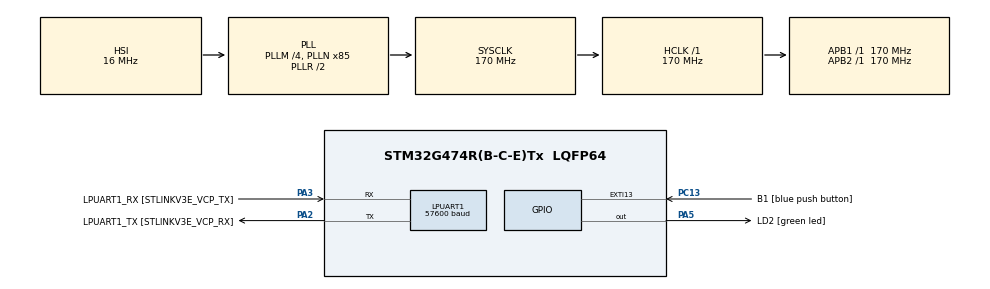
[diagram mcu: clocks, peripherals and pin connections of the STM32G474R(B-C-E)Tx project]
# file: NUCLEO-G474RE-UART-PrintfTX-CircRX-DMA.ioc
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Dma.LPUART1_RX.0.Direction=DMA_PERIPH_TO_MEMORY
Dma.LPUART1_RX.0.EventEnable=DISABLE
Dma.LPUART1_RX.0.Instance=DMA1_Channel2
Dma.LPUART1_RX.0.MemDataAlignment=DMA_MDATAALIGN_BYTE
Dma.LPUART1_RX.0.MemInc=DMA_MINC_ENABLE
Dma.LPUART1_RX.0.Mode=DMA_CIRCULAR
Dma.LPUART1_RX.0.PeriphDataAlignment=DMA_PDATAALIGN_BYTE
Dma.LPUART1_RX.0.PeriphInc=DMA_PINC_DISABLE
Dma.LPUART1_RX.0.Polarity=HAL_DMAMUX_REQ_GEN_RISING
Dma.LPUART1_RX.0.Priority=DMA_PRIORITY_LOW
Dma.LPUART1_RX.0.RequestNumber=1
Dma.LPUART1_RX.0.SignalID=NONE
Dma.LPUART1_RX.0.SyncEnable=DISABLE
Dma.LPUART1_RX.0.SyncPolarity=HAL_DMAMUX_SYNC_NO_EVENT
Dma.LPUART1_RX.0.SyncRequestNumber=1
Dma.LPUART1_RX.0.SyncSignalID=NONE
Dma.Request0=LPUART1_RX
LPUART1.BaudRate=57600
LPUART1.WordLength=UART_WORDLENGTH_8B
Mcu.Family=STM32G4
Mcu.Name=STM32G474R(B-C-E)Tx
Mcu.Package=LQFP64
NVIC.DMA1_Channel2_IRQn=true\:0\:0\:false\:false\:true\:false\:true\:true
NVIC.EXTI15_10_IRQn=true\:0\:0\:false\:false\:true\:true\:true\:true
NVIC.LPUART1_IRQn=true\:0\:0\:false\:false\:true\:true\:true\:true
NVIC.PriorityGroup=NVIC_PRIORITYGROUP_4
PA13.GPIO_Label=T_SWDIO
PA13.Mode=Trace_Asynchronous_SW
PA13.Signal=SYS_JTMS-SWDIO
PA14.GPIO_Label=T_SWCLK
PA14.Mode=Trace_Asynchronous_SW
PA14.Signal=SYS_JTCK-SWCLK
PA2.GPIO_Label=LPUART1_TX [STLINKV3E_VCP_RX]
PA2.Mode=Asynchronous
PA2.Signal=LPUART1_TX
PA3.GPIO_Label=LPUART1_RX [STLINKV3E_VCP_TX]
PA3.Mode=Asynchronous
PA3.Signal=LPUART1_RX
PA5.GPIO_Label=LD2 [green led]
PA5.Signal=GPIO_Output
PB3.GPIO_Label=T_SWO
PB3.Mode=Trace_Asynchronous_SW
PB3.Signal=SYS_JTDO-SWO
PC13.GPIO_Label=B1 [blue push button]
PC13.Signal=GPXTI13
PC14-OSC32_IN.Mode=LSE-External-Oscillator
PC14-OSC32_IN.Signal=RCC_OSC32_IN
PC15-OSC32_OUT.Mode=LSE-External-Oscillator
PC15-OSC32_OUT.Signal=RCC_OSC32_OUT
PF0-OSC_IN.Mode=HSE-External-Oscillator
PF0-OSC_IN.Signal=RCC_OSC_IN
PF1-OSC_OUT.Mode=HSE-External-Oscillator
PF1-OSC_OUT.Signal=RCC_OSC_OUT
ProjectManager.HeapSize=0x200
ProjectManager.StackSize=0x400
ProjectManager.TargetToolchain=STM32CubeIDE
RCC.ADC12Freq_Value=170000000
RCC.ADC345Freq_Value=170000000
RCC.AHBFreq_Value=170000000
RCC.APB1Freq_Value=170000000
RCC.APB1TimFreq_Value=170000000
RCC.APB2Freq_Value=170000000
RCC.APB2TimFreq_Value=170000000
RCC.CortexFreq_Value=170000000
RCC.EXTERNAL_CLOCK_VALUE=12288000
RCC.HCLKFreq_Value=170000000
RCC.HSE_VALUE=24000000
RCC.HSI48_VALUE=48000000
RCC.HSI_VALUE=16000000
RCC.PLLM=RCC_PLLM_DIV4
RCC.PLLN=85
RCC.RTCClockSelection=RCC_RTCCLKSOURCE_LSE
RCC.SYSCLKFreq_VALUE=170000000
RCC.SYSCLKSource=RCC_SYSCLKSOURCE_PLLCLK
RCC.USBFreq_Value=170000000
RCC.VCOOutputFreq_Value=340000000
VP_SYS_VS_DBSignals.Mode=DisableDeadBatterySignals
board=NUCLEO-G474RE

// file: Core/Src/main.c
/* USER CODE BEGIN Header */
/**
 ******************************************************************************
 * @file           : main.c
 * @brief          : Main program body
 ******************************************************************************
 * @attention
 *
 * Copyright (c) 2022 STMicroelectronics.
 * All rights reserved.
 *
 * This software is licensed under terms that can be found in the LICENSE file
 * in the root directory of this software component.
 * If no LICENSE file comes with this software, it is provided AS-IS.
 *
 ******************************************************************************
 */
/* USER CODE END Header */
#include "main.h"

/* USER CODE BEGIN Includes */

#include <stdio.h>
#include "VT_Print.h"

/* USER CODE END Includes */

/* USER CODE BEGIN PD */

#define TXBUFFERSIZE                      (COUNTOF(aTxBuffer) - 1)
#define COUNTOF(__BUFFER__)   (sizeof(__BUFFER__) / sizeof(*(__BUFFER__)))

/* USER CODE END PD */

UART_HandleTypeDef hlpuart1;
DMA_HandleTypeDef hdma_lpuart1_rx;

/* USER CODE BEGIN PV */

__IO ITStatus UartTxReady = RESET;
__IO ITStatus UartRxReady = RESET;

/* Buffer used for transmission */
uint8_t aTxBuffer[] = " NUCLEO-G474RE-UART-NormalTX-CircRX-DMA \n";

uint8_t UartTxBuffer[1];
uint8_t UartRxBuffer[1];

/* USER CODE END PV */

void SystemClock_Config(void);
static void MX_GPIO_Init(void);
static void MX_DMA_Init(void);
static void MX_LPUART1_UART_Init(void);

int main(void)
{

	/* MCU Configuration--------------------------------------------------------*/

	/* Reset of all peripherals, Initializes the Flash interface and the Systick. */
	HAL_Init();

	/* Configure the system clock */
	SystemClock_Config();

	/* Initialize all configured peripherals */
	MX_GPIO_Init();
	MX_DMA_Init();
	MX_LPUART1_UART_Init();
	/* USER CODE BEGIN 2 */

	printf("Starting >> NUCLEO-G474RE-UART-PrintfTX-CircRX-DMA \n");

	if (HAL_UART_Receive_DMA(&hlpuart1, (uint8_t *)UartRxBuffer, 1) != HAL_OK)
	{
		Error_Handler();
	}

	//		  HAL_GPIO_WritePin(GPIOA, GPIO_PIN_5, SET);

	printf("Ending   >> NUCLEO-G474RE-UART-PrintfTX-CircRX-DMA \n");

	/* USER CODE END 2 */

	/* Infinite loop */
	/* USER CODE BEGIN WHILE */
	while (1)
	{
		//		HAL_GPIO_TogglePin(GPIOA, GPIO_PIN_5);
		//		HAL_Delay(200);
		/* USER CODE END WHILE */

	}
}

void SystemClock_Config(void)
{
	RCC_OscInitTypeDef RCC_OscInitStruct = {0};
	RCC_ClkInitTypeDef RCC_ClkInitStruct = {0};

	/** Configure the main internal regulator output voltage
	 */
	HAL_PWREx_ControlVoltageScaling(PWR_REGULATOR_VOLTAGE_SCALE1_BOOST);

	/** Initializes the RCC Oscillators according to the specified parameters
	 * in the RCC_OscInitTypeDef structure.
	 */
	RCC_OscInitStruct.OscillatorType = RCC_OSCILLATORTYPE_HSI;
	RCC_OscInitStruct.HSIState = RCC_HSI_ON;
	RCC_OscInitStruct.HSICalibrationValue = RCC_HSICALIBRATION_DEFAULT;
	RCC_OscInitStruct.PLL.PLLState = RCC_PLL_ON;
	RCC_OscInitStruct.PLL.PLLSource = RCC_PLLSOURCE_HSI;
	RCC_OscInitStruct.PLL.PLLM = RCC_PLLM_DIV4;
	RCC_OscInitStruct.PLL.PLLN = 85;
	RCC_OscInitStruct.PLL.PLLP = RCC_PLLP_DIV2;
	RCC_OscInitStruct.PLL.PLLQ = RCC_PLLQ_DIV2;
	RCC_OscInitStruct.PLL.PLLR = RCC_PLLR_DIV2;
	if (HAL_RCC_OscConfig(&RCC_OscInitStruct) != HAL_OK)
	{
		Error_Handler();
	}

	/** Initializes the CPU, AHB and APB buses clocks
	 */
	RCC_ClkInitStruct.ClockType = RCC_CLOCKTYPE_HCLK|RCC_CLOCKTYPE_SYSCLK
			|RCC_CLOCKTYPE_PCLK1|RCC_CLOCKTYPE_PCLK2;
	RCC_ClkInitStruct.SYSCLKSource = RCC_SYSCLKSOURCE_PLLCLK;
	RCC_ClkInitStruct.AHBCLKDivider = RCC_SYSCLK_DIV1;
	RCC_ClkInitStruct.APB1CLKDivider = RCC_HCLK_DIV1;
	RCC_ClkInitStruct.APB2CLKDivider = RCC_HCLK_DIV1;

	if (HAL_RCC_ClockConfig(&RCC_ClkInitStruct, FLASH_LATENCY_4) != HAL_OK)
	{
		Error_Handler();
	}
}

static void MX_LPUART1_UART_Init(void)
{

	hlpuart1.Instance = LPUART1;
	hlpuart1.Init.BaudRate = 57600;
	hlpuart1.Init.WordLength = UART_WORDLENGTH_8B;
	hlpuart1.Init.StopBits = UART_STOPBITS_1;
	hlpuart1.Init.Parity = UART_PARITY_NONE;
	hlpuart1.Init.Mode = UART_MODE_TX_RX;
	hlpuart1.Init.HwFlowCtl = UART_HWCONTROL_NONE;
	hlpuart1.Init.OneBitSampling = UART_ONE_BIT_SAMPLE_DISABLE;
	hlpuart1.Init.ClockPrescaler = UART_PRESCALER_DIV1;
	hlpuart1.AdvancedInit.AdvFeatureInit = UART_ADVFEATURE_NO_INIT;
	if (HAL_UART_Init(&hlpuart1) != HAL_OK)
	{
		Error_Handler();
	}
	if (HAL_UARTEx_SetTxFifoThreshold(&hlpuart1, UART_TXFIFO_THRESHOLD_1_8) != HAL_OK)
	{
		Error_Handler();
	}
	if (HAL_UARTEx_SetRxFifoThreshold(&hlpuart1, UART_RXFIFO_THRESHOLD_1_8) != HAL_OK)
	{
		Error_Handler();
	}
	if (HAL_UARTEx_DisableFifoMode(&hlpuart1) != HAL_OK)
	{
		Error_Handler();
	}

}

static void MX_DMA_Init(void)
{

	/* DMA controller clock enable */
	__HAL_RCC_DMAMUX1_CLK_ENABLE();
	__HAL_RCC_DMA1_CLK_ENABLE();

	/* DMA interrupt init */
	/* DMA1_Channel2_IRQn interrupt configuration */
	HAL_NVIC_SetPriority(DMA1_Channel2_IRQn, 0, 0);
	HAL_NVIC_EnableIRQ(DMA1_Channel2_IRQn);

}

static void MX_GPIO_Init(void)
{
	GPIO_InitTypeDef GPIO_InitStruct = {0};

	/* GPIO Ports Clock Enable */
	__HAL_RCC_GPIOC_CLK_ENABLE();
	__HAL_RCC_GPIOF_CLK_ENABLE();
	__HAL_RCC_GPIOA_CLK_ENABLE();
	__HAL_RCC_GPIOB_CLK_ENABLE();

	/*Configure GPIO pin Output Level */
	HAL_GPIO_WritePin(LD2_GPIO_Port, LD2_Pin, GPIO_PIN_RESET);

	/*Configure GPIO pin : B1_Pin */
	GPIO_InitStruct.Pin = B1_Pin;
	GPIO_InitStruct.Mode = GPIO_MODE_IT_RISING;
	GPIO_InitStruct.Pull = GPIO_NOPULL;
	HAL_GPIO_Init(B1_GPIO_Port, &GPIO_InitStruct);

	/*Configure GPIO pin : LD2_Pin */
	GPIO_InitStruct.Pin = LD2_Pin;
	GPIO_InitStruct.Mode = GPIO_MODE_OUTPUT_PP;
	GPIO_InitStruct.Pull = GPIO_NOPULL;
	GPIO_InitStruct.Speed = GPIO_SPEED_FREQ_LOW;
	HAL_GPIO_Init(LD2_GPIO_Port, &GPIO_InitStruct);

	/* EXTI interrupt init*/
	HAL_NVIC_SetPriority(EXTI15_10_IRQn, 0, 0);
	HAL_NVIC_EnableIRQ(EXTI15_10_IRQn);

}

/* USER CODE BEGIN 4 */

void HAL_UART_RxCpltCallback(UART_HandleTypeDef *huart)
{
	/* Prevent unused argument(s) compilation warning */
	UNUSED(huart);

	/* NOTE : This function should not be modified, when the callback is needed,
            the HAL_UART_RxCpltCallback can be implemented in the user file.
	 */
	HAL_GPIO_TogglePin(GPIOA, GPIO_PIN_5);

	printf(" HAL_UART_RxCpltCallback \n");

}

/* USER CODE END 4 */

void Error_Handler(void)
{
	/* USER CODE BEGIN Error_Handler_Debug */
	/* User can add his own implementation to report the HAL error return state */
	HAL_GPIO_TogglePin(GPIOA, GPIO_PIN_5);
	__disable_irq();
	while (1)
	{
	}
	/* USER CODE END Error_Handler_Debug */
}
